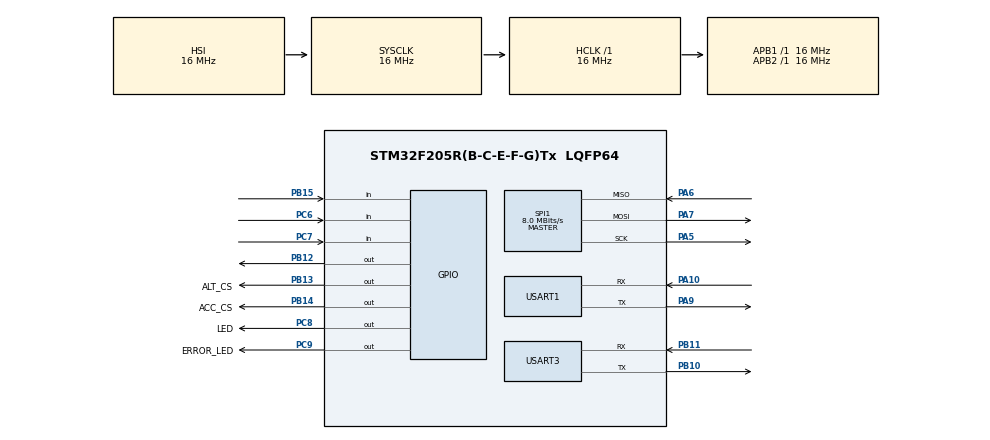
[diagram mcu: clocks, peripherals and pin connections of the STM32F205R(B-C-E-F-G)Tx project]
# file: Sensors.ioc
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Mcu.Family=STM32F2
Mcu.Name=STM32F205R(B-C-E-F-G)Tx
Mcu.Package=LQFP64
NVIC.PriorityGroup=NVIC_PRIORITYGROUP_4
PA10.Mode=Asynchronous
PA10.Signal=USART1_RX
PA13.Mode=Serial_Wire
PA13.Signal=SYS_JTMS-SWDIO
PA14.Mode=Serial_Wire
PA14.Signal=SYS_JTCK-SWCLK
PA5.Mode=Full_Duplex_Master
PA5.Signal=SPI1_SCK
PA6.Mode=Full_Duplex_Master
PA6.Signal=SPI1_MISO
PA7.Mode=Full_Duplex_Master
PA7.Signal=SPI1_MOSI
PA9.Mode=Asynchronous
PA9.Signal=USART1_TX
PB10.Mode=Asynchronous
PB10.Signal=USART3_TX
PB11.Mode=Asynchronous
PB11.Signal=USART3_RX
PB12.Signal=GPIO_Output
PB13.GPIO_Label=ALT_CS
PB13.PinState=GPIO_PIN_SET
PB13.Signal=GPIO_Output
PB14.GPIO_Label=ACC_CS
PB14.PinState=GPIO_PIN_SET
PB14.Signal=GPIO_Output
PB15.Signal=GPIO_Input
PC6.Signal=GPIO_Input
PC7.Signal=GPIO_Input
PC8.GPIO_Label=LED
PC8.Signal=GPIO_Output
PC9.GPIO_Label=ERROR_LED
PC9.Signal=GPIO_Output
ProjectManager.HeapSize=0x200
ProjectManager.StackSize=0x400
ProjectManager.TargetToolchain=STM32CubeIDE
RCC.48MHZClocksFreq_Value=48000000
RCC.AHBFreq_Value=16000000
RCC.APB1Freq_Value=16000000
RCC.APB2Freq_Value=16000000
RCC.CortexFreq_Value=16000000
RCC.HSE_VALUE=25000000
RCC.HSI_VALUE=16000000
RCC.LSE_VALUE=32768
RCC.SYSCLKFreq_VALUE=16000000
RCC.VCOOutputFreq_Value=192000000
SPI1.CalculateBaudRate=8.0 MBits/s
SPI1.Direction=SPI_DIRECTION_2LINES
SPI1.Mode=SPI_MODE_MASTER
SPI1.VirtualType=VM_MASTER
USART1.VirtualMode=VM_ASYNC
USART3.VirtualMode=VM_ASYNC
board=custom

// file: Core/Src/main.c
/* USER CODE BEGIN Header */
/**
  ******************************************************************************
  * @file           : main.c
  * @brief          : Main program body
  ******************************************************************************
  * @attention
  *
  * <h2><center>&copy; Copyright (c) 2020 STMicroelectronics.
  * All rights reserved.</center></h2>
  *
  * This software component is licensed by ST under BSD 3-Clause license,
  * the "License"; You may not use this file except in compliance with the
  * License. You may obtain a copy of the License at:
  *                        opensource.org/licenses/BSD-3-Clause
  *
  ******************************************************************************
  */
/* USER CODE END Header */

#include "main.h"

/* USER CODE BEGIN Includes */
#include <stdio.h>
#include <string.h>
#include <stdint.h>

#include "InvokeCpp.h"

/* USER CODE END Includes */

SPI_HandleTypeDef hspi1;

UART_HandleTypeDef huart1;
UART_HandleTypeDef huart3;

/* USER CODE BEGIN PV */

#define F103_UART &huart3
#define DEBUG_UART &huart1

/* USER CODE END PV */

void SystemClock_Config(void);
static void MX_GPIO_Init(void);
static void MX_SPI1_Init(void);
static void MX_USART1_UART_Init(void);
static void MX_USART3_UART_Init(void);

/* USER CODE BEGIN 0 */
void Lights(int count)
{
	HAL_GPIO_WritePin(LED_GPIO_Port, LED_Pin, GPIO_PIN_RESET);
	for (int i = 0; i < count; i++)
	{
		HAL_Delay(500);
		HAL_GPIO_WritePin(LED_GPIO_Port, LED_Pin, GPIO_PIN_SET);
		HAL_Delay(500);
		HAL_GPIO_WritePin(LED_GPIO_Port, LED_Pin, GPIO_PIN_RESET);
	}
	HAL_Delay(1000);
}

void Error_Lights(int count)
{
	HAL_GPIO_WritePin(ERROR_LED_GPIO_Port, ERROR_LED_Pin, GPIO_PIN_RESET);
	for (int i = 0; i < count; i++)
	{
		HAL_Delay(500);
		HAL_GPIO_WritePin(ERROR_LED_GPIO_Port, ERROR_LED_Pin, GPIO_PIN_SET);
		HAL_Delay(500);
		HAL_GPIO_WritePin(ERROR_LED_GPIO_Port, ERROR_LED_Pin, GPIO_PIN_RESET);
	}
	HAL_Delay(1000);
}

/* USER CODE END 0 */

int main(void)
{

  /* MCU Configuration--------------------------------------------------------*/

  /* Reset of all peripherals, Initializes the Flash interface and the Systick. */
  HAL_Init();

  /* Configure the system clock */
  SystemClock_Config();

  /* Initialize all configured peripherals */
  MX_GPIO_Init();
  MX_SPI1_Init();
  MX_USART1_UART_Init();
  MX_USART3_UART_Init();

  /* Infinite loop */
  /* USER CODE BEGIN WHILE */
	InvokeCpp(F103_UART, DEBUG_UART, &hspi1);

  while (1)
  {
    /* USER CODE END WHILE */

  }
}

void SystemClock_Config(void)
{
  RCC_OscInitTypeDef RCC_OscInitStruct = {0};
  RCC_ClkInitTypeDef RCC_ClkInitStruct = {0};

  /** Initializes the CPU, AHB and APB busses clocks
  */
  RCC_OscInitStruct.OscillatorType = RCC_OSCILLATORTYPE_HSI;
  RCC_OscInitStruct.HSIState = RCC_HSI_ON;
  RCC_OscInitStruct.HSICalibrationValue = RCC_HSICALIBRATION_DEFAULT;
  RCC_OscInitStruct.PLL.PLLState = RCC_PLL_NONE;
  if (HAL_RCC_OscConfig(&RCC_OscInitStruct) != HAL_OK)
  {
    Error_Handler();
  }
  /** Initializes the CPU, AHB and APB busses clocks
  */
  RCC_ClkInitStruct.ClockType = RCC_CLOCKTYPE_HCLK|RCC_CLOCKTYPE_SYSCLK
                              |RCC_CLOCKTYPE_PCLK1|RCC_CLOCKTYPE_PCLK2;
  RCC_ClkInitStruct.SYSCLKSource = RCC_SYSCLKSOURCE_HSI;
  RCC_ClkInitStruct.AHBCLKDivider = RCC_SYSCLK_DIV1;
  RCC_ClkInitStruct.APB1CLKDivider = RCC_HCLK_DIV1;
  RCC_ClkInitStruct.APB2CLKDivider = RCC_HCLK_DIV1;

  if (HAL_RCC_ClockConfig(&RCC_ClkInitStruct, FLASH_LATENCY_0) != HAL_OK)
  {
    Error_Handler();
  }
}

static void MX_SPI1_Init(void)
{

  /* SPI1 parameter configuration*/
  hspi1.Instance = SPI1;
  hspi1.Init.Mode = SPI_MODE_MASTER;
  hspi1.Init.Direction = SPI_DIRECTION_2LINES;
  hspi1.Init.DataSize = SPI_DATASIZE_8BIT;
  hspi1.Init.CLKPolarity = SPI_POLARITY_LOW;
  hspi1.Init.CLKPhase = SPI_PHASE_1EDGE;
  hspi1.Init.NSS = SPI_NSS_SOFT;
  hspi1.Init.BaudRatePrescaler = SPI_BAUDRATEPRESCALER_2;
  hspi1.Init.FirstBit = SPI_FIRSTBIT_MSB;
  hspi1.Init.TIMode = SPI_TIMODE_DISABLE;
  hspi1.Init.CRCCalculation = SPI_CRCCALCULATION_DISABLE;
  hspi1.Init.CRCPolynomial = 10;
  if (HAL_SPI_Init(&hspi1) != HAL_OK)
  {
    Error_Handler();
  }

}

static void MX_USART1_UART_Init(void)
{

  huart1.Instance = USART1;
  huart1.Init.BaudRate = 115200;
  huart1.Init.WordLength = UART_WORDLENGTH_8B;
  huart1.Init.StopBits = UART_STOPBITS_1;
  huart1.Init.Parity = UART_PARITY_NONE;
  huart1.Init.Mode = UART_MODE_TX_RX;
  huart1.Init.HwFlowCtl = UART_HWCONTROL_NONE;
  huart1.Init.OverSampling = UART_OVERSAMPLING_16;
  if (HAL_UART_Init(&huart1) != HAL_OK)
  {
    Error_Handler();
  }

}

static void MX_USART3_UART_Init(void)
{

  huart3.Instance = USART3;
  huart3.Init.BaudRate = 115200;
  huart3.Init.WordLength = UART_WORDLENGTH_8B;
  huart3.Init.StopBits = UART_STOPBITS_1;
  huart3.Init.Parity = UART_PARITY_NONE;
  huart3.Init.Mode = UART_MODE_TX_RX;
  huart3.Init.HwFlowCtl = UART_HWCONTROL_NONE;
  huart3.Init.OverSampling = UART_OVERSAMPLING_16;
  if (HAL_UART_Init(&huart3) != HAL_OK)
  {
    Error_Handler();
  }

}

static void MX_GPIO_Init(void)
{
  GPIO_InitTypeDef GPIO_InitStruct = {0};

  /* GPIO Ports Clock Enable */
  __HAL_RCC_GPIOA_CLK_ENABLE();
  __HAL_RCC_GPIOB_CLK_ENABLE();
  __HAL_RCC_GPIOC_CLK_ENABLE();

  /*Configure GPIO pin Output Level */
  HAL_GPIO_WritePin(GPIOB, GPIO_PIN_12, GPIO_PIN_RESET);

  /*Configure GPIO pin Output Level */
  HAL_GPIO_WritePin(GPIOB, ALT_CS_Pin|ACC_CS_Pin, GPIO_PIN_SET);

  /*Configure GPIO pin Output Level */
  HAL_GPIO_WritePin(GPIOC, LED_Pin|ERROR_LED_Pin, GPIO_PIN_RESET);

  /*Configure GPIO pins : PB12 ALT_CS_Pin ACC_CS_Pin */
  GPIO_InitStruct.Pin = GPIO_PIN_12|ALT_CS_Pin|ACC_CS_Pin;
  GPIO_InitStruct.Mode = GPIO_MODE_OUTPUT_PP;
  GPIO_InitStruct.Pull = GPIO_NOPULL;
  GPIO_InitStruct.Speed = GPIO_SPEED_FREQ_LOW;
  HAL_GPIO_Init(GPIOB, &GPIO_InitStruct);

  /*Configure GPIO pin : PB15 */
  GPIO_InitStruct.Pin = GPIO_PIN_15;
  GPIO_InitStruct.Mode = GPIO_MODE_INPUT;
  GPIO_InitStruct.Pull = GPIO_NOPULL;
  HAL_GPIO_Init(GPIOB, &GPIO_InitStruct);

  /*Configure GPIO pins : PC6 PC7 */
  GPIO_InitStruct.Pin = GPIO_PIN_6|GPIO_PIN_7;
  GPIO_InitStruct.Mode = GPIO_MODE_INPUT;
  GPIO_InitStruct.Pull = GPIO_NOPULL;
  HAL_GPIO_Init(GPIOC, &GPIO_InitStruct);

  /*Configure GPIO pins : LED_Pin ERROR_LED_Pin */
  GPIO_InitStruct.Pin = LED_Pin|ERROR_LED_Pin;
  GPIO_InitStruct.Mode = GPIO_MODE_OUTPUT_PP;
  GPIO_InitStruct.Pull = GPIO_NOPULL;
  GPIO_InitStruct.Speed = GPIO_SPEED_FREQ_LOW;
  HAL_GPIO_Init(GPIOC, &GPIO_InitStruct);

}

/* USER CODE BEGIN 4 */

void UARTWriteSync(UART_HandleTypeDef* uart, const void* data, uint32_t length)
{
	HAL_UART_Transmit(uart, (uint8_t*) data, length, HAL_MAX_DELAY);
}

void UARTReadSync(UART_HandleTypeDef* uart, void* data, uint32_t length)
{
	HAL_UART_Receive(uart, (uint8_t*) data, length, HAL_MAX_DELAY);
}

void My_Error_Handler(void)
{
	/* USER CODE BEGIN Error_Handler_Debug */
	/* User can add his own implementation to report the HAL error return state */
	Error_Lights(10);
	/* USER CODE END Error_Handler_Debug */
}

void DelayUS(uint16_t us)
{
//	__HAL_TIM_SET_COUNTER(&htim1, 0);  // set the counter value a 0
//	while (__HAL_TIM_GET_COUNTER(&htim1) < us)
//		;  // wait for the counter to reach the us input in the parameter
//FIXME
}

/* USER CODE END 4 */

void Error_Handler(void)
{
  /* USER CODE BEGIN Error_Handler_Debug */
	/* User can add his own implementation to report the HAL error return state */
	Error_Lights(10);
  /* USER CODE END Error_Handler_Debug */
}

/************************ (C) COPYRIGHT STMicroelectronics *****END OF FILE****/
